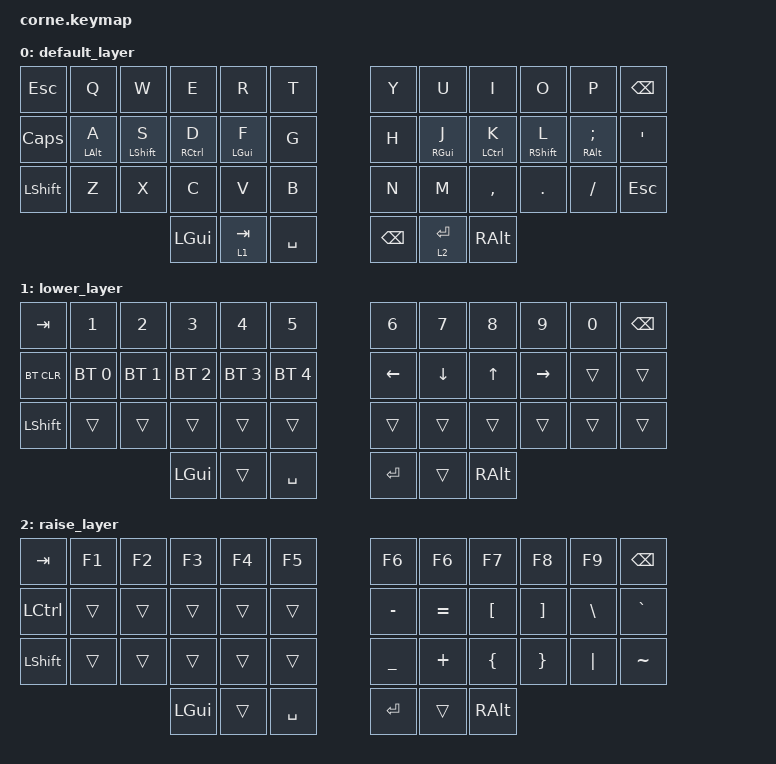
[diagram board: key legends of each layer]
/*
 * Copyright (c) 2020 The ZMK Contributors
 *
 * SPDX-License-Identifier: MIT
 */

#include <behaviors.dtsi>
#include <dt-bindings/zmk/keys.h>
#include <dt-bindings/zmk/bt.h>

/ {
        behaviors {
                hm: homerow_mods {
                        compatible = "zmk,behavior-hold-tap";
                        label = "HOMEROW_MODS";
                        #binding-cells = <2>;
                        tapping-term-ms = <200>;
                        quick-tap-ms = <0>;
                        flavor = "tap-preferred";
                        bindings =
                                <&kp>,
                                <&kp>;
                };
        };
        keymap {
                compatible = "zmk,keymap";

                default_layer {
// -----------------------------------------------------------------------------------------
// |  TAB |  Q  |  W  |  E  |  R  |  T  |   |  Y  |  U   |  I  |  O  |  P  | BKSP |
// | CTRL |  A  |  S  |  D  |  F  |  G  |   |  H  |  J   |  K  |  L  |  ;  |  '   |
// | SHFT |  Z  |  X  |  C  |  V  |  B  |   |  N  |  M   |  ,  |  .  |  /  | ESC  |
//                    | GUI | LWR | SPC |   | ENT | RSE  | ALT |
                        bindings = <
   &kp ESCAPE &kp Q          &kp W            &kp E       &kp R          &kp T   &kp Y &kp U            &kp I                  &kp O               &kp P              &kp BSPC
   &kp CLCK   &hm LEFT_ALT A &hm LEFT_SHIFT S &hm RCTRL D &hm LEFT_GUI F &kp G   &kp H &hm RIGHT_GUI J  &hm LEFT_CONTROL K     &hm RIGHT_SHIFT L   &hm RIGHT_ALT SEMI &kp SQT
   &kp LSHFT  &kp Z          &kp X            &kp C       &kp V          &kp B   &kp N &kp M            &kp COMMA              &kp DOT             &kp FSLH           &kp ESC
                  &kp LGUI &lt 1 TAB &kp SPACE   &kp BACKSPACE &lt 2 ENTER &kp RALT
                        >;
                };
                lower_layer {
// -----------------------------------------------------------------------------------------
// |  TAB |  1  |  2  |  3  |  4  |  5  |   |  6  |  7  |  8  |  9  |  0  | BKSP |
// | BTCLR| BT1 | BT2 | BT3 | BT4 | BT5 |   | LFT | DWN |  UP | RGT |     |      |
// | SHFT |     |     |     |     |     |   |     |     |     |     |     |      |
//                    | GUI |     | SPC |   | ENT |     | ALT |
                        bindings = <
   &kp TAB    &kp N1       &kp N2       &kp N3       &kp N4       &kp N5         &kp N6   &kp N7   &kp N8 &kp N9    &kp N0 &kp BSPC
   &bt BT_CLR &bt BT_SEL 0 &bt BT_SEL 1 &bt BT_SEL 2 &bt BT_SEL 3 &bt BT_SEL 4   &kp LEFT &kp DOWN &kp UP &kp RIGHT &trans &trans
   &kp LSHFT  &trans       &trans       &trans       &trans       &trans         &trans   &trans   &trans &trans    &trans &trans
                                    &kp LGUI     &trans       &kp SPACE      &kp RET  &trans   &kp RALT
                        >;
                };

                raise_layer {
// -----------------------------------------------------------------------------------------
// |  TAB |  !  |  @  |  #  |  $  |  %  |   |  ^  |  &  |  *  |  (  |  )  | BKSP |
// | CTRL |     |     |     |     |     |   |  -  |  =  |  [  |  ]  |  \  |  `   |
// | SHFT |     |     |     |     |     |   |  _  |  +  |  {  |  }  | "|" |  ~   |
//                    | GUI |     | SPC |   | ENT |     | ALT |
                        bindings = <
   &kp  TAB  &kp F1 &kp F2 &kp F3 &kp F4 &kp F5 &kp F6 &kp F6 &kp F7 &kp F8 &kp F9 &kp BSPC
   &kp LCTRL &trans   &trans &trans   &trans   &trans      &kp MINUS &kp EQUAL &kp LBKT        &kp RBKT &kp BSLH &kp GRAVE
   &kp LSHFT &trans   &trans &trans   &trans   &trans      &kp UNDER &kp PLUS  &kp LBRC        &kp RBRC &kp PIPE &kp TILDE
                             &kp LGUI &trans   &kp SPACE   &kp RET   &trans    &kp RALT
                        >;
                };
        };
};
